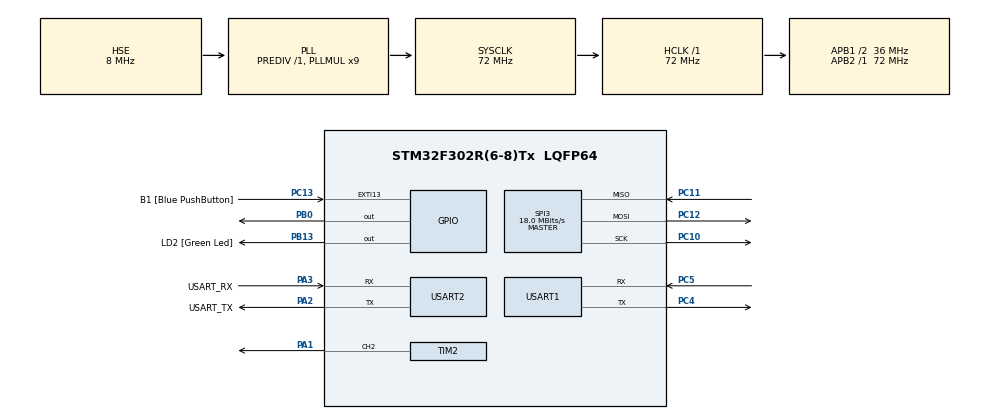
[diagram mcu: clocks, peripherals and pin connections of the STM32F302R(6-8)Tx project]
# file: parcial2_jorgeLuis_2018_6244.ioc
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FATFS._MAX_SS=4096
FATFS._MIN_SS=512
FATFS._USE_LFN=1
Mcu.Family=STM32F3
Mcu.Name=STM32F302R(6-8)Tx
Mcu.Package=LQFP64
NVIC.PriorityGroup=NVIC_PRIORITYGROUP_0
PA1.Signal=S_TIM2_CH2
PA13.GPIO_Label=TMS
PA13.Mode=Serial_Wire
PA13.Signal=SYS_JTMS-SWDIO
PA14.GPIO_Label=TCK
PA14.Mode=Serial_Wire
PA14.Signal=SYS_JTCK-SWCLK
PA2.GPIO_Label=USART_TX
PA2.GPIO_Mode=GPIO_MODE_AF_PP
PA2.GPIO_PuPd=GPIO_NOPULL
PA2.GPIO_Speed=GPIO_SPEED_FREQ_LOW
PA2.Mode=Asynchronous
PA2.Signal=USART2_TX
PA3.GPIO_Label=USART_RX
PA3.GPIO_Mode=GPIO_MODE_AF_PP
PA3.GPIO_PuPd=GPIO_NOPULL
PA3.GPIO_Speed=GPIO_SPEED_FREQ_LOW
PA3.Mode=Asynchronous
PA3.Signal=USART2_RX
PB0.Signal=GPIO_Output
PB13.GPIO_Label=LD2 [Green Led]
PB13.Signal=GPIO_Output
PB3.GPIO_Label=SWO
PB3.Mode=Trace_Asynchronous_SW
PB3.Signal=SYS_JTDO-TRACESWO
PC10.Mode=Full_Duplex_Master
PC10.Signal=SPI3_SCK
PC11.Mode=Full_Duplex_Master
PC11.Signal=SPI3_MISO
PC12.Mode=Full_Duplex_Master
PC12.Signal=SPI3_MOSI
PC13.GPIO_Label=B1 [Blue PushButton]
PC13.GPIO_ModeDefaultEXTI=GPIO_MODE_IT_FALLING
PC13.Signal=GPXTI13
PC14\ -\ OSC32_IN.Mode=LSE-External-Oscillator
PC14\ -\ OSC32_IN.Signal=RCC_OSC32_IN
PC15\ -\ OSC32_OUT.Mode=LSE-External-Oscillator
PC15\ -\ OSC32_OUT.Signal=RCC_OSC32_OUT
PC4.Mode=Asynchronous
PC4.Signal=USART1_TX
PC5.Mode=Asynchronous
PC5.Signal=USART1_RX
PF0-OSC_IN.Mode=HSE-External-Clock-Source
PF0-OSC_IN.Signal=RCC_OSC_IN
PF1-OSC_OUT.Signal=RCC_OSC_OUT
ProjectManager.HeapSize=0x0
ProjectManager.StackSize=0x40
ProjectManager.TargetToolchain=STM32CubeIDE
RCC.AHBFreq_Value=72000000
RCC.APB1CLKDivider=RCC_HCLK_DIV2
RCC.APB1Freq_Value=36000000
RCC.APB1TimFreq_Value=72000000
RCC.APB2Freq_Value=72000000
RCC.APB2TimFreq_Value=72000000
RCC.CortexFreq_Value=72000000
RCC.HCLKFreq_Value=72000000
RCC.HSE_VALUE=8000000
RCC.HSI_VALUE=8000000
RCC.PLLM=8
RCC.PLLMUL=RCC_PLL_MUL9
RCC.PLLN=336
RCC.PLLP=RCC_PLLP_DIV4
RCC.PLLQ=7
RCC.PLLSourceVirtual=RCC_PLLSOURCE_HSE
RCC.SYSCLKFreq_VALUE=72000000
RCC.SYSCLKSourceVirtual=RCC_SYSCLKSOURCE_PLLCLK
RCC.USBFreq_Value=72000000
SH.S_TIM2_CH2.0=TIM2_CH2,PWM Generation2 CH2
SPI3.CalculateBaudRate=18.0 MBits/s
SPI3.Direction=SPI_DIRECTION_2LINES
SPI3.Mode=SPI_MODE_MASTER
SPI3.VirtualType=VM_MASTER
TIM2.Channel-PWM\ Generation2\ CH2=TIM_CHANNEL_2
TIM2.Period=20
TIM2.Prescaler=127
USART1.VirtualMode-Asynchronous=VM_ASYNC
USART2.VirtualMode-Asynchronous=VM_ASYNC
VP_FATFS_VS_Generic.Mode=User_defined
VP_TIM2_VS_ClockSourceINT.Mode=Internal
board=NUCLEO-F302R8

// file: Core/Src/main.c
/* USER CODE BEGIN Header */
/**
  ******************************************************************************
  * @file           : main.c
  * @brief          : Main program body
  ******************************************************************************
  * @attention
  *
  * Copyright (c) 2023 STMicroelectronics.
  * All rights reserved.
  *
  * This software is licensed under terms that can be found in the LICENSE file
  * in the root directory of this software component.
  * If no LICENSE file comes with this software, it is provided AS-IS.
  *
  ******************************************************************************
  */
/* USER CODE END Header */
#include "main.h"
#include "fatfs.h"

/* USER CODE BEGIN PD */
/* USER CODE BEGIN PD */

/* USER CODE END PD */

SPI_HandleTypeDef hspi3;

TIM_HandleTypeDef htim2;

UART_HandleTypeDef huart1;
UART_HandleTypeDef huart2;

void SystemClock_Config(void);
static void MX_GPIO_Init(void);
static void MX_USART2_UART_Init(void);
static void MX_SPI3_Init(void);
static void MX_USART1_UART_Init(void);
static void MX_TIM2_Init(void);

int main(void)
{

  /* MCU Configuration--------------------------------------------------------*/

  /* Reset of all peripherals, Initializes the Flash interface and the Systick. */
  HAL_Init();

  /* Configure the system clock */
  SystemClock_Config();

  /* Initialize all configured peripherals */
  MX_GPIO_Init();
  MX_USART2_UART_Init();
  MX_SPI3_Init();
  MX_FATFS_Init();
  MX_USART1_UART_Init();
  MX_TIM2_Init();
  /* USER CODE BEGIN 2 */
    HAL_TIM_PWM_Start(&htim2, TIM_CHANNEL_2);
    /* USER CODE END 2 */

    /* Infinite loop */
    /* USER CODE BEGIN WHILE */
    while (1)
    {
      int x;
      for(x=10; x<50; x++)
      {
        __HAL_TIM_SET_AUTORELOAD(&htim2, x*6);
        __HAL_TIM_SET_COMPARE(&htim2,TIM_CHANNEL_2, x);
        HAL_Delay(100);
      }
      int y;
            for(y=10; y<50; y--)
            {
              __HAL_TIM_SET_AUTORELOAD(&htim2, y*7);
              __HAL_TIM_SET_COMPARE(&htim2,TIM_CHANNEL_2, y);
              HAL_Delay(100);
            }
            int a;
                 for(a=10; a<80; a++)
                 {
                   __HAL_TIM_SET_AUTORELOAD(&htim2, a*9);
                   __HAL_TIM_SET_COMPARE(&htim2,TIM_CHANNEL_2, a);
                   HAL_Delay(100);
                 }
                 int z;
                       for(z=10; z<100; z++)
                       {
                         __HAL_TIM_SET_AUTORELOAD(&htim2,z*9);
                         __HAL_TIM_SET_COMPARE(&htim2,TIM_CHANNEL_2, z);
                         HAL_Delay(100);
                       }
      /* USER CODE END WHILE */
    }}
void SystemClock_Config(void)
{
  RCC_OscInitTypeDef RCC_OscInitStruct = {0};
  RCC_ClkInitTypeDef RCC_ClkInitStruct = {0};
  RCC_PeriphCLKInitTypeDef PeriphClkInit = {0};

  /** Initializes the RCC Oscillators according to the specified parameters
  * in the RCC_OscInitTypeDef structure.
  */
  RCC_OscInitStruct.OscillatorType = RCC_OSCILLATORTYPE_HSE;
  RCC_OscInitStruct.HSEState = RCC_HSE_BYPASS;
  RCC_OscInitStruct.HSEPredivValue = RCC_HSE_PREDIV_DIV1;
  RCC_OscInitStruct.HSIState = RCC_HSI_ON;
  RCC_OscInitStruct.PLL.PLLState = RCC_PLL_ON;
  RCC_OscInitStruct.PLL.PLLSource = RCC_PLLSOURCE_HSE;
  RCC_OscInitStruct.PLL.PLLMUL = RCC_PLL_MUL9;
  if (HAL_RCC_OscConfig(&RCC_OscInitStruct) != HAL_OK)
  {
    Error_Handler();
  }

  /** Initializes the CPU, AHB and APB buses clocks
  */
  RCC_ClkInitStruct.ClockType = RCC_CLOCKTYPE_HCLK|RCC_CLOCKTYPE_SYSCLK
                              |RCC_CLOCKTYPE_PCLK1|RCC_CLOCKTYPE_PCLK2;
  RCC_ClkInitStruct.SYSCLKSource = RCC_SYSCLKSOURCE_PLLCLK;
  RCC_ClkInitStruct.AHBCLKDivider = RCC_SYSCLK_DIV1;
  RCC_ClkInitStruct.APB1CLKDivider = RCC_HCLK_DIV2;
  RCC_ClkInitStruct.APB2CLKDivider = RCC_HCLK_DIV1;

  if (HAL_RCC_ClockConfig(&RCC_ClkInitStruct, FLASH_LATENCY_2) != HAL_OK)
  {
    Error_Handler();
  }
  PeriphClkInit.PeriphClockSelection = RCC_PERIPHCLK_USART1;
  PeriphClkInit.Usart1ClockSelection = RCC_USART1CLKSOURCE_PCLK1;
  if (HAL_RCCEx_PeriphCLKConfig(&PeriphClkInit) != HAL_OK)
  {
    Error_Handler();
  }
}

static void MX_SPI3_Init(void)
{

  /* SPI3 parameter configuration*/
  hspi3.Instance = SPI3;
  hspi3.Init.Mode = SPI_MODE_MASTER;
  hspi3.Init.Direction = SPI_DIRECTION_2LINES;
  hspi3.Init.DataSize = SPI_DATASIZE_4BIT;
  hspi3.Init.CLKPolarity = SPI_POLARITY_LOW;
  hspi3.Init.CLKPhase = SPI_PHASE_1EDGE;
  hspi3.Init.NSS = SPI_NSS_SOFT;
  hspi3.Init.BaudRatePrescaler = SPI_BAUDRATEPRESCALER_2;
  hspi3.Init.FirstBit = SPI_FIRSTBIT_MSB;
  hspi3.Init.TIMode = SPI_TIMODE_DISABLE;
  hspi3.Init.CRCCalculation = SPI_CRCCALCULATION_DISABLE;
  hspi3.Init.CRCPolynomial = 7;
  hspi3.Init.CRCLength = SPI_CRC_LENGTH_DATASIZE;
  hspi3.Init.NSSPMode = SPI_NSS_PULSE_ENABLE;
  if (HAL_SPI_Init(&hspi3) != HAL_OK)
  {
    Error_Handler();
  }

}

static void MX_TIM2_Init(void)
{

  TIM_ClockConfigTypeDef sClockSourceConfig = {0};
  TIM_MasterConfigTypeDef sMasterConfig = {0};
  TIM_OC_InitTypeDef sConfigOC = {0};

  htim2.Instance = TIM2;
  htim2.Init.Prescaler = 127;
  htim2.Init.CounterMode = TIM_COUNTERMODE_UP;
  htim2.Init.Period = 20;
  htim2.Init.ClockDivision = TIM_CLOCKDIVISION_DIV1;
  htim2.Init.AutoReloadPreload = TIM_AUTORELOAD_PRELOAD_DISABLE;
  if (HAL_TIM_Base_Init(&htim2) != HAL_OK)
  {
    Error_Handler();
  }
  sClockSourceConfig.ClockSource = TIM_CLOCKSOURCE_INTERNAL;
  if (HAL_TIM_ConfigClockSource(&htim2, &sClockSourceConfig) != HAL_OK)
  {
    Error_Handler();
  }
  if (HAL_TIM_PWM_Init(&htim2) != HAL_OK)
  {
    Error_Handler();
  }
  sMasterConfig.MasterOutputTrigger = TIM_TRGO_RESET;
  sMasterConfig.MasterSlaveMode = TIM_MASTERSLAVEMODE_DISABLE;
  if (HAL_TIMEx_MasterConfigSynchronization(&htim2, &sMasterConfig) != HAL_OK)
  {
    Error_Handler();
  }
  sConfigOC.OCMode = TIM_OCMODE_PWM1;
  sConfigOC.Pulse = 0;
  sConfigOC.OCPolarity = TIM_OCPOLARITY_HIGH;
  sConfigOC.OCFastMode = TIM_OCFAST_DISABLE;
  if (HAL_TIM_PWM_ConfigChannel(&htim2, &sConfigOC, TIM_CHANNEL_2) != HAL_OK)
  {
    Error_Handler();
  }
  HAL_TIM_MspPostInit(&htim2);

}

static void MX_USART1_UART_Init(void)
{

  huart1.Instance = USART1;
  huart1.Init.BaudRate = 38400;
  huart1.Init.WordLength = UART_WORDLENGTH_8B;
  huart1.Init.StopBits = UART_STOPBITS_1;
  huart1.Init.Parity = UART_PARITY_NONE;
  huart1.Init.Mode = UART_MODE_TX_RX;
  huart1.Init.HwFlowCtl = UART_HWCONTROL_NONE;
  huart1.Init.OverSampling = UART_OVERSAMPLING_16;
  huart1.Init.OneBitSampling = UART_ONE_BIT_SAMPLE_DISABLE;
  huart1.AdvancedInit.AdvFeatureInit = UART_ADVFEATURE_NO_INIT;
  if (HAL_UART_Init(&huart1) != HAL_OK)
  {
    Error_Handler();
  }

}

static void MX_USART2_UART_Init(void)
{

  huart2.Instance = USART2;
  huart2.Init.BaudRate = 38400;
  huart2.Init.WordLength = UART_WORDLENGTH_8B;
  huart2.Init.StopBits = UART_STOPBITS_1;
  huart2.Init.Parity = UART_PARITY_NONE;
  huart2.Init.Mode = UART_MODE_TX_RX;
  huart2.Init.HwFlowCtl = UART_HWCONTROL_NONE;
  huart2.Init.OverSampling = UART_OVERSAMPLING_16;
  huart2.Init.OneBitSampling = UART_ONE_BIT_SAMPLE_DISABLE;
  huart2.AdvancedInit.AdvFeatureInit = UART_ADVFEATURE_NO_INIT;
  if (HAL_UART_Init(&huart2) != HAL_OK)
  {
    Error_Handler();
  }

}

static void MX_GPIO_Init(void)
{
  GPIO_InitTypeDef GPIO_InitStruct = {0};

  /* GPIO Ports Clock Enable */
  __HAL_RCC_GPIOC_CLK_ENABLE();
  __HAL_RCC_GPIOF_CLK_ENABLE();
  __HAL_RCC_GPIOA_CLK_ENABLE();
  __HAL_RCC_GPIOB_CLK_ENABLE();

  /*Configure GPIO pin Output Level */
  HAL_GPIO_WritePin(GPIOB, GPIO_PIN_0|LD2_Pin, GPIO_PIN_RESET);

  /*Configure GPIO pin : B1_Pin */
  GPIO_InitStruct.Pin = B1_Pin;
  GPIO_InitStruct.Mode = GPIO_MODE_IT_FALLING;
  GPIO_InitStruct.Pull = GPIO_NOPULL;
  HAL_GPIO_Init(B1_GPIO_Port, &GPIO_InitStruct);

  /*Configure GPIO pins : PB0 LD2_Pin */
  GPIO_InitStruct.Pin = GPIO_PIN_0|LD2_Pin;
  GPIO_InitStruct.Mode = GPIO_MODE_OUTPUT_PP;
  GPIO_InitStruct.Pull = GPIO_NOPULL;
  GPIO_InitStruct.Speed = GPIO_SPEED_FREQ_LOW;
  HAL_GPIO_Init(GPIOB, &GPIO_InitStruct);

}

void Error_Handler(void)
{
  __disable_irq();
  while (1)
  {
  }
}
